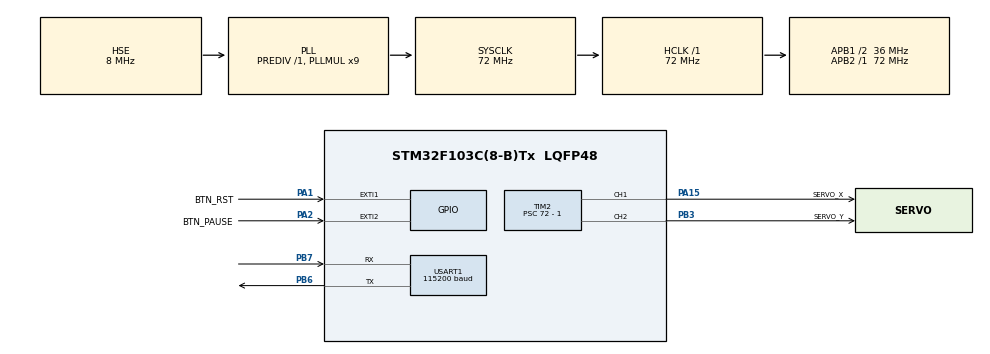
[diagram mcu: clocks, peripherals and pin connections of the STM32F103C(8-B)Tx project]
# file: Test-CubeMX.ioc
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Mcu.Family=STM32F1
Mcu.Name=STM32F103C(8-B)Tx
Mcu.Package=LQFP48
NVIC.EXTI1_IRQn=true\:1\:0\:true\:false\:true\:true\:true\:true
NVIC.EXTI2_IRQn=true\:1\:0\:true\:false\:true\:true\:true\:true
NVIC.PriorityGroup=NVIC_PRIORITYGROUP_4
NVIC.TIM1_UP_IRQn=true\:1\:0\:true\:false\:true\:true\:true\:true
NVIC.USART1_IRQn=true\:0\:0\:false\:false\:true\:true\:true\:true
PA1.GPIO_Label=BTN_RST
PA1.GPIO_ModeDefaultEXTI=GPIO_MODE_IT_FALLING
PA1.GPIO_PuPd=GPIO_PULLUP
PA1.Signal=GPXTI1
PA13.Mode=Serial_Wire
PA13.Signal=SYS_JTMS-SWDIO
PA14.Mode=Serial_Wire
PA14.Signal=SYS_JTCK-SWCLK
PA15.GPIO_Label=SERVO_X
PA15.Signal=S_TIM2_CH1_ETR
PA2.GPIO_Label=BTN_PAUSE
PA2.GPIO_ModeDefaultEXTI=GPIO_MODE_IT_FALLING
PA2.GPIO_PuPd=GPIO_PULLUP
PA2.Signal=GPXTI2
PB3.GPIO_Label=SERVO_Y
PB3.Signal=S_TIM2_CH2
PB6.Mode=Asynchronous
PB6.Signal=USART1_TX
PB7.Mode=Asynchronous
PB7.Signal=USART1_RX
PD0-OSC_IN.Mode=HSE-External-Oscillator
PD0-OSC_IN.Signal=RCC_OSC_IN
PD1-OSC_OUT.Mode=HSE-External-Oscillator
PD1-OSC_OUT.Signal=RCC_OSC_OUT
ProjectManager.HeapSize=0x200
ProjectManager.StackSize=0x400
ProjectManager.TargetToolchain=STM32CubeIDE
RCC.AHBFreq_Value=72000000
RCC.APB1CLKDivider=RCC_HCLK_DIV2
RCC.APB1Freq_Value=36000000
RCC.APB1TimFreq_Value=72000000
RCC.APB2Freq_Value=72000000
RCC.APB2TimFreq_Value=72000000
RCC.HCLKFreq_Value=72000000
RCC.PLLMUL=RCC_PLL_MUL9
RCC.PLLSourceVirtual=RCC_PLLSOURCE_HSE
RCC.SYSCLKFreq_VALUE=72000000
RCC.SYSCLKSource=RCC_SYSCLKSOURCE_PLLCLK
RCC.USBFreq_Value=72000000
SH.S_TIM2_CH1_ETR.0=TIM2_CH1,PWM Generation1 CH1
SH.S_TIM2_CH2.0=TIM2_CH2,PWM Generation2 CH2
TIM1.Period=1000 - 1
TIM1.Prescaler=720 - 1
TIM2.Channel-PWM\ Generation1\ CH1=TIM_CHANNEL_1
TIM2.Channel-PWM\ Generation2\ CH2=TIM_CHANNEL_2
TIM2.Period=5000 - 1
TIM2.Prescaler=72 - 1
USART1.BaudRate=115200
USART1.VirtualMode=VM_ASYNC
VP_TIM1_VS_ClockSourceINT.Mode=Internal
VP_TIM2_VS_ClockSourceINT.Mode=Internal
board=custom

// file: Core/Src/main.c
/* USER CODE BEGIN Header */
/**
 ******************************************************************************
 * @file           : main.c
 * @brief          : Main program body
 ******************************************************************************
 * @attention
 *
 * Copyright (c) 2023 STMicroelectronics.
 * All rights reserved.
 *
 * This software is licensed under terms that can be found in the LICENSE file
 * in the root directory of this software component.
 * If no LICENSE file comes with this software, it is provided AS-IS.
 *
 ******************************************************************************
 */
/* USER CODE END Header */
#include "main.h"
#include "tim.h"
#include "usart.h"
#include "gpio.h"

/* USER CODE BEGIN Includes */
// #include "shell.h"
// #include <stdio.h>
// #include <string.h>
/* USER CODE END Includes */

/* USER CODE BEGIN PD */
#define UART_START 0x2035
#define UART_END   0x5302
#define UART_SIZE  2

#define OFFSET_MAX 2

// #define PWM_X TIM_CHANNEL_1
// #define PWM_Y TIM_CHANNEL_2
/* USER CODE END PD */

/* USER CODE BEGIN PV */
// SHELL_TypeDef shell;
uint16_t uart_data;

union {
#pragma pack(1)
  struct {
    uint16_t channel;
    uint16_t pwm;
  };
  uint16_t data[3];
} frame;

uint8_t offset = 0;

bool recive = false;
/* USER CODE END PV */

void SystemClock_Config(void);

/* USER CODE BEGIN 0 */

/* void HAL_UART_RxCpltCallback(UART_HandleTypeDef *huart)
{
  HAL_UART_Receive_IT(huart, &uart_data, UART_SIZE);
  if (&huart1 == huart) {
    // shellInput(&shell, uart_data);
    if (offset > OFFSET_MAX) {
      offset = 0;
      return;
    }

    if (uart_data == UART_START && !recive) {
      recive = true;
      offset = 0;
      return;
    } else if (uart_data == UART_END) {
      if (offset != OFFSET_MAX) {
        recive = false;
        offset = 0;
        return;
      }
      recive = false;
      offset = 0;
      // char tmp[50];
      // sprintf(tmp, "%d, %d\r\n", frame.channel, frame.pwm);

      // HAL_UART_Transmit(huart, tmp, strlen(tmp), UINT32_MAX);
      __HAL_TIM_SetCompare(&htim2, frame.channel, frame.pwm);
    } else if (recive) {
      frame.data[offset++] = uart_data;
    }
  }
} */

// void Shell_Write(const char data)
// {
//   HAL_UART_Transmit(&huart1, &data, 1, UINT32_MAX);
// }

// void PWM_X(uint16_t pwm)
// {
//   // shellPrint(&shell,"设置X轴PWM: %d\r\n", pwm);
//   __HAL_TIM_SetCompare(&htim1, TIM_CHANNEL_1, pwm);
// }
// SHELL_EXPORT_CMD(pwm_x, PWM_X, "设置X轴PWM");

// void PWM_Y(uint16_t pwm)
// {
//   // shellPrint(&shell,"设置Y轴PWM: %d\r\n", pwm);
//   __HAL_TIM_SetCompare(&htim1, TIM_CHANNEL_2, pwm);
// }
// SHELL_EXPORT_CMD(pwm_y, PWM_Y, "设置Y轴PWM");

/* USER CODE END 0 */

int main(void)
{

  /* MCU Configuration--------------------------------------------------------*/

  /* Reset of all peripherals, Initializes the Flash interface and the Systick. */
  HAL_Init();

  /* Configure the system clock */
  SystemClock_Config();

  /* Initialize all configured peripherals */
  MX_GPIO_Init();
  MX_TIM1_Init();
  MX_USART1_UART_Init();
  MX_TIM2_Init();
  /* USER CODE BEGIN 2 */
  HAL_TIM_Base_Start_IT(&htim1);

  HAL_TIM_PWM_Start(&htim2, TIM_CHANNEL_1);
  HAL_TIM_PWM_Start(&htim2, TIM_CHANNEL_2);

  // HAL_GPIO_TogglePin(GPIOA, GPIO_PIN_10);

  // HAL_TIM_PWM_Start(&htim1, TIM_CHANNEL_3);
  // HAL_TIM_PWM_Start(&htim1, TIM_CHANNEL_4);

  // __HAL_TIM_SetCompare(&htim2, TIM_CHANNEL_1, 1500);
  // __HAL_TIM_SetCompare(&htim2, TIM_CHANNEL_2, 1500);

  // shell.write = Shell_Write;
  // shellInit(&shell);

  // HAL_UART_Receive_IT(&huart1, &uart_data, UART_SIZE);
  // __HAL_TIM_SetCompare(&htim2, TIM_CHANNEL_1, 2200);

  /* USER CODE END 2 */

  /* Infinite loop */
  /* USER CODE BEGIN WHILE */
  while (1) {
    // HAL_UART_Transmit(&huart1, "Hello World!\r\n", 15, UINT32_MAX);
    /* USER CODE END WHILE */

  }
}

void SystemClock_Config(void)
{
  RCC_OscInitTypeDef RCC_OscInitStruct = {0};
  RCC_ClkInitTypeDef RCC_ClkInitStruct = {0};

  /** Initializes the RCC Oscillators according to the specified parameters
  * in the RCC_OscInitTypeDef structure.
  */
  RCC_OscInitStruct.OscillatorType = RCC_OSCILLATORTYPE_HSE;
  RCC_OscInitStruct.HSEState = RCC_HSE_ON;
  RCC_OscInitStruct.HSEPredivValue = RCC_HSE_PREDIV_DIV1;
  RCC_OscInitStruct.HSIState = RCC_HSI_ON;
  RCC_OscInitStruct.PLL.PLLState = RCC_PLL_ON;
  RCC_OscInitStruct.PLL.PLLSource = RCC_PLLSOURCE_HSE;
  RCC_OscInitStruct.PLL.PLLMUL = RCC_PLL_MUL9;
  if (HAL_RCC_OscConfig(&RCC_OscInitStruct) != HAL_OK)
  {
    Error_Handler();
  }

  /** Initializes the CPU, AHB and APB buses clocks
  */
  RCC_ClkInitStruct.ClockType = RCC_CLOCKTYPE_HCLK|RCC_CLOCKTYPE_SYSCLK
                              |RCC_CLOCKTYPE_PCLK1|RCC_CLOCKTYPE_PCLK2;
  RCC_ClkInitStruct.SYSCLKSource = RCC_SYSCLKSOURCE_PLLCLK;
  RCC_ClkInitStruct.AHBCLKDivider = RCC_SYSCLK_DIV1;
  RCC_ClkInitStruct.APB1CLKDivider = RCC_HCLK_DIV2;
  RCC_ClkInitStruct.APB2CLKDivider = RCC_HCLK_DIV1;

  if (HAL_RCC_ClockConfig(&RCC_ClkInitStruct, FLASH_LATENCY_2) != HAL_OK)
  {
    Error_Handler();
  }
}

void Error_Handler(void)
{
  __disable_irq();
  while (1) {
  }
}
